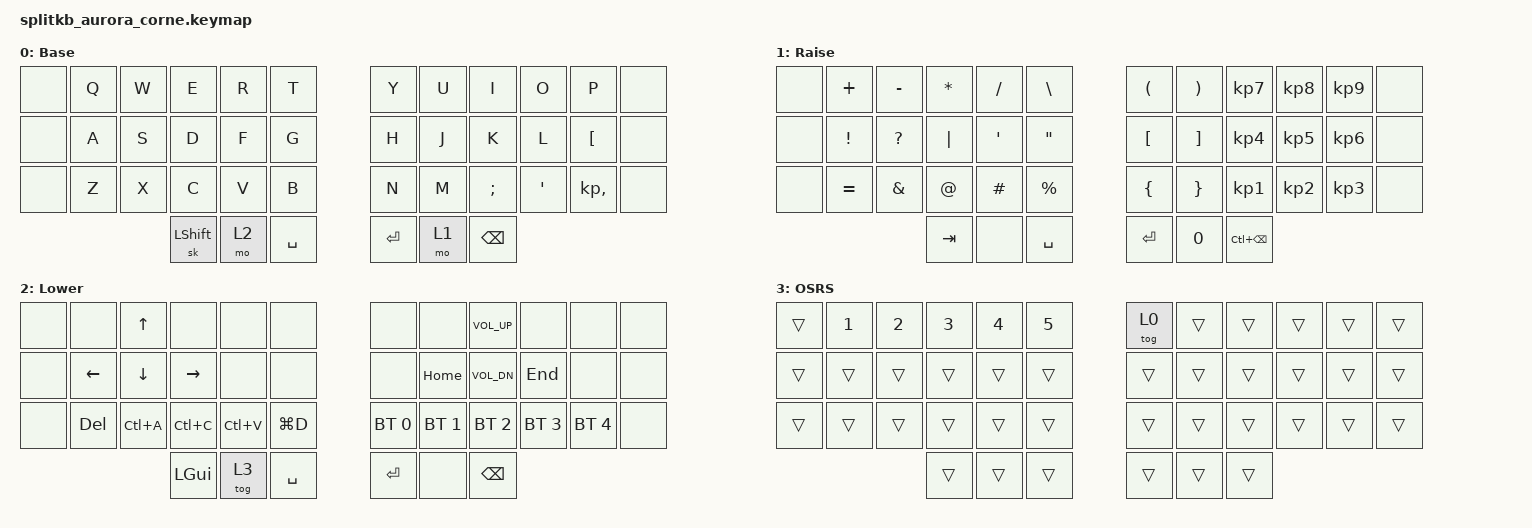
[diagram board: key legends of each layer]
/*
 * Copyright (c) 2020 The ZMK Contributors
 *
 * SPDX-License-Identifier: MIT
 */

#include <behaviors.dtsi>
#include <dt-bindings/zmk/bt.h>
#include <dt-bindings/zmk/keys.h>
#include "aliases.h" //file contains aliases for most symbols for the danish language

/ {
    chosen { zmk,physical-layout = &foostan_corne_5col_layout; };

    keymap {
        compatible = "zmk,keymap";

        default_layer {
            // -----------------------------------------------------------------------------------------
            // |  TAB |  Q  |  W  |  E  |  R  |  T  |   |  Y  |  U   |  I  |  O  |  P  |  Å  |
            // | SHFT |  A  |  S  |  D  |  F  |  G  |   |  H  |  J   |  K  |  L  |  Æ  |  Ø  |
            // | CTRL |  Z  |  X  |  C  |  V  |  B  |   |  N  |  M   |  ,  |  .  | GUI | ALT |
            //                    | GUI | LWR | SPC |   | ENT | SPACE| ALT |

            display-name = "Base";
            bindings = <
&none  &kp Q  &kp W  &kp E      &kp R  &kp T        &kp Y    &kp U  &kp I          &kp O    &kp P         &none
&none  &kp A  &kp S  &kp D      &kp F  &kp G        &kp H    &kp J  &kp K          &kp L    &kp LBKT      &none
&none  &kp Z  &kp X  &kp C      &kp V  &kp B        &kp N    &kp M  &kp SEMI       &kp SQT  &kp KP_COMMA  &none
                     &sk LSHFT  &mo 2  &kp SPACE    &kp RET  &mo 1  &kp BACKSPACE
            >;
        };

        num_char {
            // -----------------------------------------------------------------------------------------
            // |   +  |  -  |  7  |  8  |  9  |  _  |       |  '  |  [  |  ]  |  /  |  |  |  \  |
            // |   *  |  ^  |  4  |  5  |  6  |  ~  |       |  "  |  {  |  }  |  !  |  @  |  #  |
            // |   ?  |  =  |  1  |  2  |  3  |  ¨  |       |  "  |  (  |  )  |  $  |  %  |  &  |
            //                    |  0  | BSPC| ESC |       | ENT |     |     |

            display-name = "Raise";
            bindings = <
&none  &kp PLUS         &kp MINUS      &kp ASTRK    &kp SLASH         &kp BACKSLASH        &kp LEFT_PARENTHESIS  &kp RIGHT_PARENTHESIS  &kp KP_NUMBER_7    &kp KP_NUMBER_8  &kp KP_NUMBER_9  &none
&none  &kp EXCLAMATION  &kp QUESTION   &kp PIPE     &kp SINGLE_QUOTE  &kp DOUBLE_QUOTES    &kp LEFT_BRACKET      &kp RIGHT_BRACKET      &kp KP_NUMBER_4    &kp KP_NUMBER_5  &kp KP_NUMBER_6  &none
&none  &kp EQUAL        &kp AMPERSAND  &kp AT_SIGN  &kp HASH          &kp PERCENT          &kp LEFT_BRACE        &kp RIGHT_BRACE        &kp KP_NUMBER_1    &kp KP_NUMBER_2  &kp KP_NUMBER_3  &none
                                       &kp TAB      &none             &kp SPACE            &kp RET               &kp N0                 &kp LC(BACKSPACE)
            >;
        };

        dir_char {
            // -----------------------------------------------------------------------------------------
            // |     | tab |     |arup |     |     |       |     |      | volup |     |    |    |
            // |     |lshft|arlft|ardwn|arght|     |       |     | home | volup | end |    |    |
            // |     |lctrl|     | copy|paste|     |       |     |      |       |     |    |    |
            //                   |     |     | ESC |       | ENT | space|       |

            display-name = "Lower";
            bindings = <
&none  &none       &kp UP     &none         &none      &none        &none         &none         &kp C_VOL_UP   &none         &none         &none
&none  &kp LEFT    &kp DOWN   &kp RIGHT     &none      &none        &none         &kp HOME      &kp C_VOL_DN   &kp END       &none         &none
&none  &kp DELETE  &kp LC(A)  &kp LC(C)     &kp LC(V)  &kp LG(D)    &bt BT_SEL 0  &bt BT_SEL 1  &bt BT_SEL 2   &bt BT_SEL 3  &bt BT_SEL 4  &none
                              &kp LEFT_GUI  &tog 3     &kp SPACE    &kp RET       &none         &kp BACKSPACE
            >;
        };

        OSRS {
            bindings = <
&trans  &kp NUMBER_1  &kp NUMBER_2  &kp NUMBER_3  &kp NUMBER_4  &kp N5    &tog 0  &trans  &trans  &trans  &trans  &trans
&trans  &trans        &trans        &trans        &trans        &trans    &trans  &trans  &trans  &trans  &trans  &trans
&trans  &trans        &trans        &trans        &trans        &trans    &trans  &trans  &trans  &trans  &trans  &trans
                                    &trans        &trans        &trans    &trans  &trans  &trans
            >;
        };
    };
};
